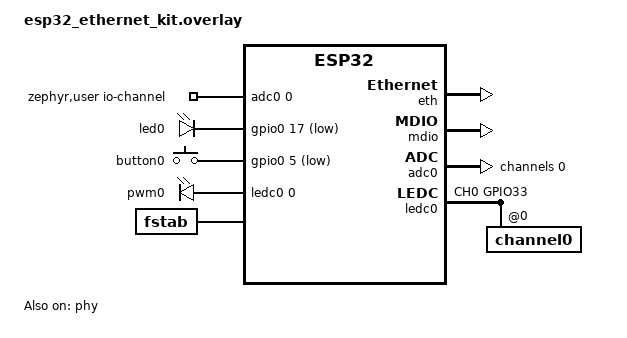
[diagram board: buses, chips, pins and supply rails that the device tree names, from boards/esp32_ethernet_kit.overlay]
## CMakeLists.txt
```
# SPDX-License-Identifier: Apache-2.0

cmake_minimum_required(VERSION 3.20.0)

find_package(Zephyr REQUIRED HINTS $ENV{ZEPHYR_BASE})
project(app)

FILE(GLOB app_sources src/*.c)
target_sources(app PRIVATE ${app_sources})

# 4diac FORTE as Zephyr library module

zephyr_get_compile_definitions_for_lang_as_string(CXX cxx_definitions)
zephyr_get_compile_options_for_lang_as_string(CXX cxx_options)
zephyr_get_include_directories_for_lang_as_string(CXX cxx_includes)
zephyr_get_system_include_directories_for_lang_as_string(CXX cxx_system_includes)

set(external_project_cxxflags
	"${cxx_definitions} ${cxx_options} ${cxx_includes} ${cxx_system_includes} -Wno-error"
)

set(CMAKE_LINK_LIBRARY_USING_WHOLE_ARCHIVE "-Wl,--whole-archive" "<LINK_ITEM>" "-Wl,--no-whole-archive")
set(CMAKE_LINK_LIBRARY_WHOLE_ARCHIVE_ATTRIBUTES LIBRARY_TYPE=STATIC DEDUPLICATION=YES OVERRIDE=DEFAULT)
set(CMAKE_LINK_LIBRARY_USING_WHOLE_ARCHIVE_SUPPORTED TRUE)

include(ExternalProject)

ExternalProject_Add(forte
	SOURCE_DIR ${CMAKE_CURRENT_SOURCE_DIR}/lib/org.eclipse.4diac.forte
	CONFIGURE_COMMAND
		cmake -G "Ninja"
			-DCMAKE_C_COMPILER_WORKS=ON
			-DCMAKE_CXX_COMPILER_WORKS=ON
			-DNULLPTR_SUPPORTED=ON
			-DCMAKE_SYSTEM_NAME=Generic
			-DFORTE_ARCHITECTURE=Zephyr
			-DFORTE_TESTS=OFF
			-DFORTE_SUPPORT_BOOT_FILE=ON
			-DFORTE_BUILD_EXECUTABLE=OFF
			-DFORTE_BUILD_STATIC_LIBRARY=ON
			-DFORTE_C_INTERFACE=ON
			-DFORTE_MODULE_CONVERT=ON
			-DFORTE_MODULE_IEC61131=ON
			-DFORTE_IO=ON
			-DFORTE_IO_ESP32ETHERNETKIT=ON
			-DFORTE_COM_ETH=ON
			-DFORTE_COM_FBDK=ON
			-DFORTE_COM_LOCAL=ON
			-DFORTE_MODULE_UTILS=ON
			-DFORTE_EXTERNAL_MODULES_DIRECTORY=ExportedFBs
			-DCMAKE_C_COMPILER=${CMAKE_C_COMPILER}
			-DCMAKE_CXX_COMPILER=${CMAKE_CXX_COMPILER}
			-DFORTE_LOGLEVEL=NOLOG
			-DCMAKE_BUILD_TYPE=MINSIZEREL
			-DCMAKE_C_FLAGS_DEBUG="-g"
			-DCMAKE_CXX_FLAGS=${external_project_cxxflags}
			../../..
	BUILD_COMMAND
		ninja ../../..
	INSTALL_COMMAND ""
)

add_dependencies(forte zephyr_interface)

# add_library(forte_lib STATIC IMPORTED GLOBAL)
# add_dependencies(forte_lib forte)
# set_target_properties(forte_lib PROPERTIES IMPORTED_LOCATION ${FORTE_LIB_DIR}/libforte-c-static.a)
# target_include_directories(forte_lib INTERFACE ${forte_src_dir}/src/arch)
# target_link_libraries(app PUBLIC forte_lib)
```

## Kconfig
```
mainmenu "4diac FORTE example"

config UPDATE_FORTE_BOOTFILE
	bool "Update the 4diac FORTE flash fs bootfile from a char array that is embedded in main.c"
	help
	  This option enables the update of the 4diac FORTE flash fs bootfile
	  from a char array that is embedded in main.c.

source "Kconfig.zephyr"
```

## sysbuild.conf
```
# Enable Zephyr application to be booted by MCUboot
SB_CONFIG_BOOTLOADER_MCUBOOT=y
```

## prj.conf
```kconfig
# Enable Zephyr application to be booted by MCUboot
CONFIG_BOOTLOADER_MCUBOOT=y
CONFIG_MCUBOOT_BOOTLOADER_MODE_SINGLE_APP=y

CONFIG_NET_DHCPV4=y
CONFIG_NET_DHCPV4_OPTION_CALLBACKS=y
CONFIG_DNS_RESOLVER=y

CONFIG_TEST_RANDOM_GENERATOR=y

CONFIG_NET_CONNECTION_MANAGER=y

CONFIG_NET_MGMT=y
CONFIG_NET_MGMT_EVENT=y

CONFIG_LOG=y
CONFIG_NET_LOG=y

CONFIG_SLIP_STATISTICS=n
CONFIG_NET_SHELL=y

CONFIG_UPDATE_FORTE_BOOTFILE=n

CONFIG_FPU=y

#

# Supporting FORTE logging system on Zephyr's logging subsys
CONFIG_LOG=y
CONFIG_LOG_MODE_IMMEDIATE=n
CONFIG_LOG_BACKEND_UART=n

# For C++ standard library support
CONFIG_CPP=y
CONFIG_STD_CPP20=y
CONFIG_REQUIRES_FULL_LIBCPP=y
CONFIG_COMPILER_OPT="-Werror"

# Dynamic thread creation for 4diac FORTE
CONFIG_DYNAMIC_THREAD=y
CONFIG_DYNAMIC_THREAD_ALLOC=y

CONFIG_INIT_STACKS=y
CONFIG_THREAD_STACK_INFO=y
CONFIG_KERNEL_MEM_POOL=y
CONFIG_HEAP_MEM_POOL_SIZE=64000

# TCP/IP networking for 4diac FORTE
CONFIG_NETWORKING=y
CONFIG_NET_SOCKETS=y
CONFIG_POSIX_API=y
CONFIG_POSIX_C_LIB_EXT=y
CONFIG_NET_ARP=y
CONFIG_NET_UDP=y
CONFIG_NET_TCP=y

CONFIG_NET_CONFIG_SETTINGS=y
CONFIG_NET_L2_ETHERNET=y
CONFIG_NET_IPV6=y
CONFIG_NET_IPV4=y

CONFIG_NET_MAX_CONN=20
CONFIG_NET_CONTEXT_RCVTIMEO=y
CONFIG_ZVFS_OPEN_MAX=20
CONFIG_NET_MAX_CONTEXTS=16

CONFIG_NET_PROMISCUOUS_MODE=y
# CONFIG_ETH_MCUX_PROMISCUOUS_MODE=y # required by NXP MCUX SOCs

CONFIG_NET_IF_MCAST_IPV4_ADDR_COUNT=4

# LittleFS support
CONFIG_FLASH=y
CONFIG_FLASH_MAP=y
CONFIG_FLASH_PAGE_LAYOUT=y

CONFIG_FILE_SYSTEM=y
CONFIG_FILE_SYSTEM_LITTLEFS=y

# IO drivers support
CONFIG_GPIO=y
CONFIG_ADC=y
CONFIG_ADC_ASYNC=y
CONFIG_PWM=y
```

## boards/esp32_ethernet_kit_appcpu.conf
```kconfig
CONFIG_ETH_ESP32=y
CONFIG_ESP_SPIRAM=n
```

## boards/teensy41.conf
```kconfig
# Need this when storage is on flash
CONFIG_MPU_ALLOW_FLASH_WRITE=y
CONFIG_NET_L2_ETHERNET=y
CONFIG_COMPILER_OPT="-Werror -Wno-error=unused-const-variable -Wno-error=unused-function"
```

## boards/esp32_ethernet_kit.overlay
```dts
/*
 * Copyright (c) 2022 Grant Ramsay <grant.ramsay@hotmail.com>
 *
 * SPDX-License-Identifier: Apache-2.0
 */

#include <zephyr/dt-bindings/pwm/pwm.h>
#include <dt-bindings/pinctrl/esp32-pinctrl.h>

&eth {
	status = "okay";
};

&phy {
	status = "okay";
};

&mdio {
	status = "okay";
};

&wifi {
	status = "disabled";
};

&flash0 {
	status = "okay";
	partitions {
		/* Reserve 2024kB for the application in slot 0 */
		slot0_partition: partition@10000 {
			label = "image-0";
			reg = <0x00010000 0x00200000>;
		};

		/delete-node/ slot1_partition;
	};
};

&adc0 {
	status = "okay";
	#address-cells = <1>;
	#size-cells = <0>;

	channel@0 {
		reg = <0>;
		zephyr,gain = "ADC_GAIN_1";
		zephyr,reference = "ADC_REF_INTERNAL";
		zephyr,acquisition-time = <ADC_ACQ_TIME_DEFAULT>;
		zephyr,resolution = <12>;
	};
};

&pinctrl {
	ledc0_default:  ledc0_default {
		group1 {
			pinmux = <LEDC_CH0_GPIO33>;
			output-enable;
		};
	};
};

&ledc0 {
	pinctrl-0 = <&ledc0_default>;
	pinctrl-names = "default";
	status = "okay";
	#address-cells = <1>;
	#size-cells = <0>;
	channel0@0 {
		reg = <0x0>;
		timer = <0>;
	};
};

/ {
	zephyr,user {
		io-channels =
			<&adc0 0>;
	};

   	aliases {
   		led0 = &led0;
   		sw0 = &button0;
		pwm0 = &pwm0;
   	};

   	leds {
   		compatible = "gpio-leds";
   		led0: led_0 {
   			gpios = <&gpio0 17 GPIO_ACTIVE_LOW>;
                };
   	};

	buttons {
		compatible = "gpio-keys";
		button0: button_0 {
			gpios = <&gpio0 5 (GPIO_PULL_UP | GPIO_ACTIVE_LOW)>;
		};
	};

	pwmleds {
		compatible = "pwm-leds";
		pwm0: pwm_led_gpio1_1 {
			pwms = <&ledc0 0 PWM_HZ(100) PWM_POLARITY_NORMAL>;
		};
	};

	fstab {
		compatible = "zephyr,fstab";
		lfs1: lfs1 {
			compatible = "zephyr,fstab,littlefs";
			mount-point = "/lfs1";
			partition = <&storage_partition>;
			automount;
			read-size = <16>;
			prog-size = <16>;
			cache-size = <64>;
			lookahead-size = <32>;
			block-cycles = <512>;
		};
	};
};
```

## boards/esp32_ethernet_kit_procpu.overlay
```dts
/*
 * Copyright (c) 2022 Grant Ramsay <grant.ramsay@hotmail.com>
 *
 * SPDX-License-Identifier: Apache-2.0
 */

#include <zephyr/dt-bindings/pwm/pwm.h>
#include <dt-bindings/pinctrl/esp32-pinctrl.h>

&eth {
	status = "okay";
};

&phy {
	status = "okay";
};

&mdio {
	status = "okay";
};

&wifi {
	status = "disabled";
};

&adc0 {
	status = "okay";
	#address-cells = <1>;
	#size-cells = <0>;

	channel@0 {
		reg = <0>;
		zephyr,gain = "ADC_GAIN_1";
		zephyr,reference = "ADC_REF_INTERNAL";
		zephyr,acquisition-time = <ADC_ACQ_TIME_DEFAULT>;
		zephyr,resolution = <12>;
	};
};

&pinctrl {
	ledc0_default:  ledc0_default {
		group1 {
			pinmux = <LEDC_CH0_GPIO33>;
			output-enable;
		};
	};
};

&ledc0 {
	pinctrl-0 = <&ledc0_default>;
	pinctrl-names = "default";
	status = "okay";
	#address-cells = <1>;
	#size-cells = <0>;
	channel0@0 {
		reg = <0x0>;
		timer = <0>;
	};
};

/ {
	zephyr,user {
		io-channels =
			<&adc0 0>;
	};

   	aliases {
   		led0 = &led0;
   		sw0 = &button0;
		pwm0 = &pwm0;
   	};

   	leds {
   		compatible = "gpio-leds";
   		led0: led_0 {
   			gpios = <&gpio0 17 GPIO_ACTIVE_LOW>;
                };
   	};

	buttons {
		compatible = "gpio-keys";
		button0: button_0 {
			gpios = <&gpio0 5 (GPIO_PULL_UP | GPIO_ACTIVE_LOW)>;
		};
	};

	pwmleds {
		compatible = "pwm-leds";
		pwm0: pwm_led_gpio1_1 {
			pwms = <&ledc0 0 PWM_HZ(100) PWM_POLARITY_NORMAL>;
		};
	};

	fstab {
		compatible = "zephyr,fstab";
		lfs1: lfs1 {
			compatible = "zephyr,fstab,littlefs";
			mount-point = "/lfs1";
			partition = <&storage_partition>;
			automount;
			read-size = <16>;
			prog-size = <16>;
			cache-size = <64>;
			lookahead-size = <32>;
			block-cycles = <512>;
		};
	};
};
```

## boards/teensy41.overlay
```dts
/*
 * Copyright (c) 2022 Grant Ramsay <grant.ramsay@hotmail.com>
 *
 * SPDX-License-Identifier: Apache-2.0
 */

/ {
	fstab {
		compatible = "zephyr,fstab";
		lfs1: lfs1 {
			compatible = "zephyr,fstab,littlefs";
			mount-point = "/lfs1";
			partition = <&storage_partition>;
			automount;
			read-size = <16>;
			prog-size = <16>;
			cache-size = <64>;
			lookahead-size = <32>;
			block-cycles = <512>;
		};
	};

	chosen {
		zephyr,code-partition = &slot0_partition;
	};
};

&enet {
	status = "okay";
};

&w25q64jvxgim {
	status = "okay";
	partitions {
		compatible = "fixed-partitions";
		#address-cells = <1>;
		#size-cells = <1>;

		boot_partition: partition@0 {
			label = "mcuboot";
			reg = <0x00000000 DT_SIZE_K(128)>;
		};

		/* The MCUBoot swap-move algorithm uses the last 2 sectors
		* of the primary slot0 for swap status and move.
		*/
		slot0_partition: partition@20000 {
			label = "image-0";
			reg = <0x00020000 (DT_SIZE_K(1980) + DT_SIZE_K(8))>;
		};

		slot1_partition: partition@211000 {
			label = "image-1";
			reg = <0x00211000 DT_SIZE_K(1980)>;
		};

		storage_partition: partition@400000 {
			label = "storage";
			reg = <0x00400000 DT_SIZE_M(8)>;
		};
	};
};
```

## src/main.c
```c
#include <zephyr/logging/log.h>
LOG_MODULE_REGISTER(forte, LOG_LEVEL_DBG);

#include <zephyr/kernel.h>
#include <zephyr/linker/sections.h>

#include <zephyr/net/net_if.h>
#include <zephyr/net/net_core.h>
#include <zephyr/net/net_context.h>
#include <zephyr/net/net_mgmt.h>
#include <zephyr/fs/fs.h>

#include <stdlib.h>

// #include <c_interface/forte_c.h>

#ifndef K_FP_REGS
#define K_FP_REGS 0
#endif // K_FP_REGS


#define DHCP_OPTION_NTP (42)

static uint8_t ntp_server[4];

static struct net_mgmt_event_callback mgmt_cb;

static struct net_dhcpv4_option_callback dhcp_cb;

static void start_dhcpv4_client(struct net_if *iface, void *user_data)
{
	ARG_UNUSED(user_data);

	LOG_INF("Start on %s: index=%d", net_if_get_device(iface)->name,
		net_if_get_by_iface(iface));
	net_dhcpv4_start(iface);
}

#ifdef CONFIG_UPDATE_FORTE_BOOTFILE

#include <forte_fileio.h>

char* bootCmds =
";<Request ID=\"2\" Action=\"CREATE\"><FB Name=\"Blinky_RES\" Type=\"EMB_RES\" /></Request>\n"
"Blinky_RES;<Request ID=\"3\" Action=\"CREATE\"><FB Name=\"E_SWITCH\" Type=\"E_SWITCH\" /></Request>\n"
"Blinky_RES;<Request ID=\"4\" Action=\"CREATE\"><FB Name=\"E_SR\" Type=\"E_SR\" /></Request>\n"
"Blinky_RES;<Request ID=\"5\" Action=\"CREATE\"><FB Name=\"E_CYCLE\" Type=\"E_CYCLE\" /></Request>\n"
"Blinky_RES;<Request ID=\"6\" Action=\"WRITE\"><Connection Source=\"T#10ms\" Destination=\"E_CYCLE.DT\" /></Request>\n"
"Blinky_RES;<Request ID=\"7\" Action=\"CREATE\"><Connection Source=\"E_SWITCH.EO0\" Destination=\"E_SR.S\" /></Request>\n"
"Blinky_RES;<Request ID=\"8\" Action=\"CREATE\"><Connection Source=\"E_SWITCH.EO1\" Destination=\"E_SR.R\" /></Request>\n"
"Blinky_RES;<Request ID=\"9\" Action=\"CREATE\"><Connection Source=\"E_CYCLE.EO\" Destination=\"E_SWITCH.EI\" /></Request>\n"
"Blinky_RES;<Request ID=\"10\" Action=\"CREATE\"><Connection Source=\"START.COLD\" Destination=\"E_CYCLE.START\" /></Request>\n"
"Blinky_RES;<Request ID=\"11\" Action=\"CREATE\"><Connection Source=\"START.WARM\" Destination=\"E_CYCLE.START\" /></Request>\n"
"Blinky_RES;<Request ID=\"12\" Action=\"CREATE\"><Connection Source=\"START.STOP\" Destination=\"E_CYCLE.STOP\" /></Request>\n"
"Blinky_RES;<Request ID=\"13\" Action=\"CREATE\"><Connection Source=\"E_SR.Q\" Destination=\"E_SWITCH.G\" /></Request>\n"
"Blinky_RES;<Request ID=\"13\" Action=\"START\"/>\n"
;
#endif // CONFIG_UPDATE_FORTE_BOOTFILE

void forte_fn(void* arg1, void* arg2, void* arg3) {
//	char progName[] = "forte";
//	char flag[] = "-f";
//	char bootFile[] = "/lfs1/bootfile.txt";

#ifdef CONFIG_UPDATE_FORTE_BOOTFILE
	struct fs_file_t file = { 0 };
	fs_file_t_init(&file);
	if (0 == fs_open(&file, bootFile, FS_O_WRITE | FS_O_CREATE)) {
		fs_write(&file, bootCmds, strlen(bootCmds));
		fs_close(&file);
	}
#endif // CONFIG_UPDATE_FORTE_BOOTFILE

//	char* arguments[] = { progName, flag, bootFile };
//	const ssize_t argumentsCount = ARRAY_SIZE(arguments);
//	TForteInstance forteInstance = 0;
//	forteGlobalInitialize(argumentsCount, arguments);
//	int resultForte = forteStartInstanceGeneric(argumentsCount, arguments, &forteInstance);
//
//	if(FORTE_OK == resultForte) {
//		LOG_DBG("Started forte");
//		forteWaitForInstanceToStop(forteInstance);
//	} else {
//		LOG_DBG("Error %d: Couldn't start forte", resultForte);
//	}
//	forteGlobalDeinitialize();
}

static void handler(struct net_mgmt_event_callback *cb,
	uint64_t mgmt_event,
	struct net_if *iface)
{
	int i = 0;

	if (mgmt_event != NET_EVENT_IPV4_ADDR_ADD) {
		return;
	}

	for (i = 0; i < NET_IF_MAX_IPV4_ADDR; i++) {
		char buf[NET_IPV4_ADDR_LEN];

		if (iface->config.ip.ipv4->unicast[i].ipv4.addr_type !=
			NET_ADDR_DHCP) {
			continue;
		}

		LOG_INF("  Address[%d]: %s", net_if_get_by_iface(iface),
			net_addr_ntop(AF_INET,
			&iface->config.ip.ipv4->unicast[i].ipv4.address.in_addr,
			buf, sizeof(buf)));
		LOG_INF("  Subnet[%d]: %s", net_if_get_by_iface(iface),
			net_addr_ntop(AF_INET,
			&iface->config.ip.ipv4->unicast[i].netmask,
			buf, sizeof(buf)));
		LOG_INF("  Router[%d]: %s", net_if_get_by_iface(iface),
			net_addr_ntop(AF_INET,
			&iface->config.ip.ipv4->gw,
			buf, sizeof(buf)));
		LOG_INF("Lease time[%d]: %u seconds", net_if_get_by_iface(iface),
			iface->config.dhcpv4.lease_time);
	}

	const size_t stackSize = 2048;
	k_thread_stack_t* stack = k_thread_stack_alloc(stackSize, 0);
	if (stack == NULL) return;
	struct k_thread* thread = k_malloc(sizeof(struct k_thread));
	if (thread == NULL) return;
	k_thread_create(thread, stack, stackSize, forte_fn, NULL, NULL, NULL, 10, K_FP_REGS, K_NO_WAIT);
}

static void option_handler(struct net_dhcpv4_option_callback *cb,
			size_t length,
			enum net_dhcpv4_msg_type msg_type,
			struct net_if *iface)
{
	char buf[NET_IPV4_ADDR_LEN];

	LOG_INF("DHCP Option %d: %s", cb->option,
		net_addr_ntop(AF_INET, cb->data, buf, sizeof(buf)));
}

int main(void)
{
	LOG_INF("Run dhcpv4 client");

	net_mgmt_init_event_callback(&mgmt_cb, handler,
		NET_EVENT_IPV4_ADDR_ADD);
	net_mgmt_add_event_callback(&mgmt_cb);

	net_dhcpv4_init_option_callback(&dhcp_cb, option_handler,
		DHCP_OPTION_NTP, ntp_server,
		sizeof(ntp_server));

	net_dhcpv4_add_option_callback(&dhcp_cb);

	net_if_foreach(start_dhcpv4_client, NULL);

	return 0;
}
```
